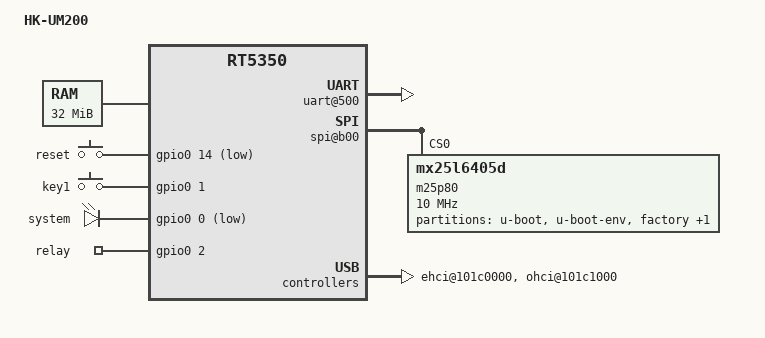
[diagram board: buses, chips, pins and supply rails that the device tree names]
/dts-v1/;

/include/ "rt5350.dtsi"

/ {
	compatible = "HLKRM04", "ralink,rt5350-soc";
	model = "HK-UM200";

	memory@0 {
		device_type = "memory";
		reg = <0x0 0x2000000>;
	};

	chosen {
		bootargs = "console=none";
	};

	palmbus@10000000 {
		uart@500 {
			status = "okay";
		};

		spi@b00 {
			status = "okay";
			m25p80@0 {
				#address-cells = <1>;
				#size-cells = <1>;
				compatible = "mx25l6405d";
				reg = <0 0>;
				linux,modalias = "m25p80", "s25fl064k";
				spi-max-frequency = <10000000>;

				partition@0 {
					label = "u-boot";
					reg = <0x0 0x30000>;
					read-only;
				};

				partition@30000 {
					label = "u-boot-env";
					reg = <0x30000 0x10000>;
					read-only;
				};

				factory: partition@40000 {
					label = "factory";
					reg = <0x40000 0x10000>;
					read-only;
				};

				partition@50000 {
					label = "firmware";
					reg = <0x50000 0x7b0000>;
				};
			};
		};
	};

	pinctrl {
		state_default: pinctrl0 {
			gpio {
				ralink,group = "i2c", "jtag";
				ralink,function = "gpio";
			};
		};
		uartf_pins: uartf {
			uartf {
				ralink,group = "uartf";
				ralink,function = "gpio uartf";
			};
		};
	};

	ethernet@10100000 {
		mtd-mac-address = <&factory 0x4>;
	};

	wmac@10180000 {
		ralink,mtd-eeprom = <&factory 0>;
	};

	ehci@101c0000 {
		status = "okay";
	};

	ohci@101c1000 {
		status = "okay";
	};

	gpio-keys-polled {
		compatible = "gpio-keys-polled";
		#address-cells = <1>;
		#size-cells = <0>;
		poll-interval = <20>;
		reset {
			label = "reset";
			gpios = <&gpio0 14 1>;
			linux,code = <0x198>;
		};
		key1 {
			label = "key1";
			gpios = <&gpio0 1 0>;
			linux,code = <0x100>;
		};
	};

	gpio-leds {
		compatible = "gpio-leds";
		system{
			label = "system";
			gpios = <&gpio0 0 1>;
		};
		relay{
			label = "relay";
			gpios = <&gpio0 2 0>;
		};
	};
};
